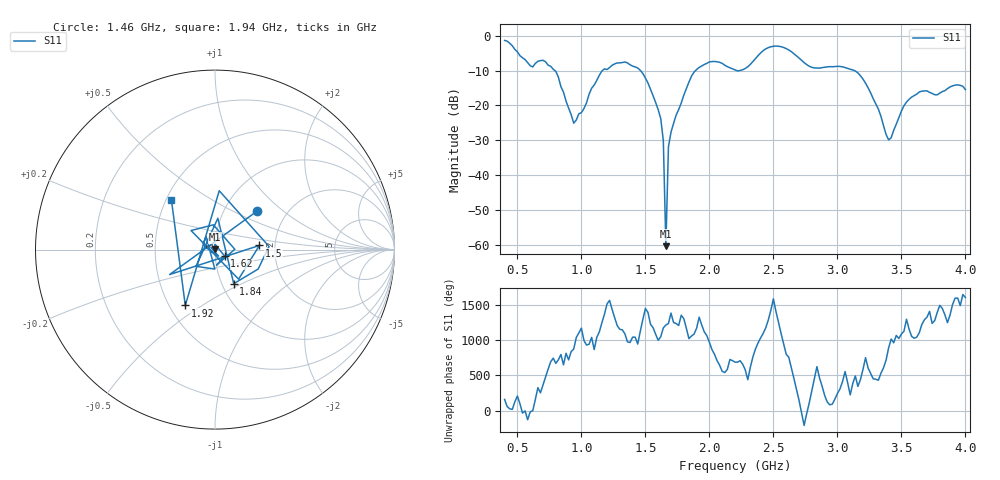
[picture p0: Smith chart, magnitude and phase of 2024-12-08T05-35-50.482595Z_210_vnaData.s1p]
!Created with skrf (http://scikit-rf.org).
# Hz S RI R 50.0
!freq ReS11 ImS11
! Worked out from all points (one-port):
!   181 points, 400 MHz to 4 GHz, reference 50 ohm
!   lowest |S11| = -60.4 dB at 1.66 GHz (marker M1), VSWR 1.00, Z = 49.9 + j0.0723 ohm
!   |S11| at or under -10 dB: 794.2 MHz to 1.163 GHz (368.9 MHz wide, 37.7 % of centre); 1.463 GHz to 1.891 GHz (428.4 MHz wide, 25.5 % of centre); 3.135 GHz to end of sweep (the widest 3 of 4)
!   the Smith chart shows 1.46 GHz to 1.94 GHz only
!   S11 on the Smith chart (normalised r, x): 1.46 GHz: 1.43, +0.69; 1.5 GHz: 1.65, +0.08; 1.62 GHz: 1.11, -0.08; 1.84 GHz: 1.14, -0.45; 1.92 GHz: 0.60, -0.43; 1.94 GHz: 0.53, +0.34
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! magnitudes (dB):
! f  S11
! 400 MHz  -1.3
! 600 MHz  -8.6
! 720 MHz  -7.4
! 800 MHz  -10.2
! 860 MHz  -16.2
! 940 MHz  -25.1
! 1.16 GHz  -10.1
! 1.3 GHz  -7.8
! 1.46 GHz  -9.9
! 1.5 GHz  -12.1
! 1.62 GHz  -23.8
! 1.64 GHz  -30.1
! 1.66 GHz  -60.4
! 1.68 GHz  -31.9
! 1.76 GHz  -21.2
! 1.84 GHz  -13.3
! 1.92 GHz  -9.1
! 1.94 GHz  -8.6
! 2.2 GHz  -9.7
! 2.48 GHz  -3.1
! 2.66 GHz  -5.1
! 2.8 GHz  -9.0
! 3.1 GHz  -9.6
! 3.24 GHz  -14.9
! 3.4 GHz  -29.9
! 3.56 GHz  -18.2
! 3.92 GHz  -14.1
! 4 GHz  -15.4
